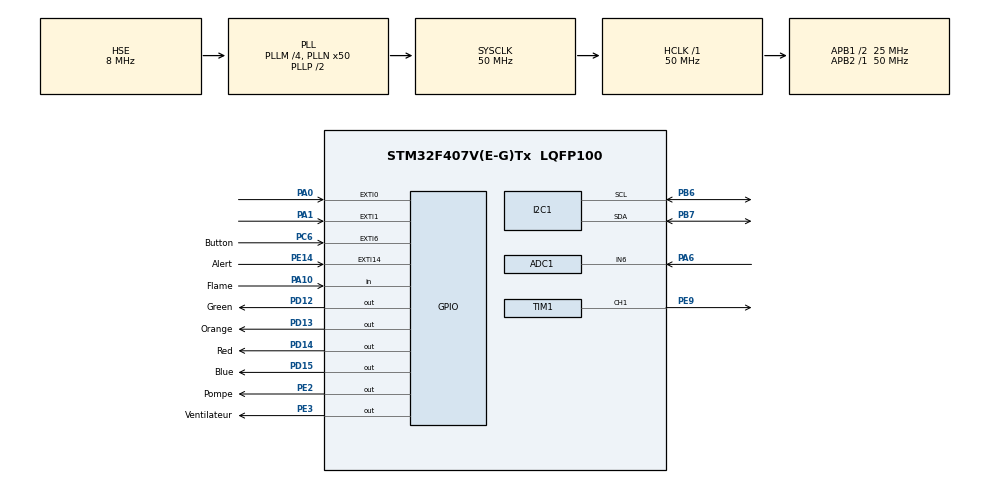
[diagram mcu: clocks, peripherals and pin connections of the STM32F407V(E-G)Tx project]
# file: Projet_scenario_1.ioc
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ADC1.Channel-0\#ChannelRegularConversion=ADC_CHANNEL_6
ADC1.InjNumberOfConversion=0
ADC1.NbrOfConversionFlag=1
ADC1.Rank-0\#ChannelRegularConversion=1
ADC1.SamplingTime-0\#ChannelRegularConversion=ADC_SAMPLETIME_3CYCLES
ADC1.master=1
Dma.MEMTOMEM.0.Direction=DMA_MEMORY_TO_MEMORY
Dma.MEMTOMEM.0.FIFOMode=DMA_FIFOMODE_ENABLE
Dma.MEMTOMEM.0.FIFOThreshold=DMA_FIFO_THRESHOLD_FULL
Dma.MEMTOMEM.0.Instance=DMA2_Stream0
Dma.MEMTOMEM.0.MemBurst=DMA_MBURST_SINGLE
Dma.MEMTOMEM.0.MemDataAlignment=DMA_MDATAALIGN_BYTE
Dma.MEMTOMEM.0.MemInc=DMA_MINC_ENABLE
Dma.MEMTOMEM.0.Mode=DMA_NORMAL
Dma.MEMTOMEM.0.PeriphBurst=DMA_PBURST_SINGLE
Dma.MEMTOMEM.0.PeriphDataAlignment=DMA_PDATAALIGN_BYTE
Dma.MEMTOMEM.0.PeriphInc=DMA_PINC_ENABLE
Dma.MEMTOMEM.0.Priority=DMA_PRIORITY_LOW
Dma.Request0=MEMTOMEM
Mcu.Family=STM32F4
Mcu.Name=STM32F407V(E-G)Tx
Mcu.Package=LQFP100
NVIC.ADC_IRQn=true\:0\:0\:false\:false\:true\:true\:true\:true
NVIC.EXTI0_IRQn=true\:0\:0\:false\:false\:true\:true\:true\:true
NVIC.EXTI15_10_IRQn=true\:0\:0\:false\:false\:true\:true\:true\:true
NVIC.EXTI1_IRQn=true\:0\:0\:false\:false\:true\:true\:true\:true
NVIC.EXTI9_5_IRQn=true\:0\:0\:false\:false\:true\:true\:true\:true
NVIC.PriorityGroup=NVIC_PRIORITYGROUP_4
NVIC.TIM6_DAC_IRQn=true\:0\:0\:false\:false\:true\:true\:true\:true
NVIC.TIM7_IRQn=true\:0\:0\:false\:false\:true\:true\:true\:true
PA0-WKUP.GPIO_ModeDefaultEXTI=GPIO_MODE_IT_RISING_FALLING
PA0-WKUP.Signal=GPXTI0
PA1.GPIO_ModeDefaultEXTI=GPIO_MODE_IT_RISING_FALLING
PA1.GPIO_PuPd=GPIO_PULLUP
PA1.Signal=GPXTI1
PA10.GPIO_Label=Flame
PA10.Signal=GPIO_Input
PA6.Signal=ADCx_IN6
PB6.Mode=I2C
PB6.Signal=I2C1_SCL
PB7.Mode=I2C
PB7.Signal=I2C1_SDA
PC6.GPIO_Label=Button
PC6.GPIO_PuPd=GPIO_PULLDOWN
PC6.Signal=GPXTI6
PD12.GPIO_Label=Green
PD12.Signal=GPIO_Output
PD13.GPIO_Label=Orange
PD13.Signal=GPIO_Output
PD14.GPIO_Label=Red
PD14.Signal=GPIO_Output
PD15.GPIO_Label=Blue
PD15.Signal=GPIO_Output
PE14.GPIO_Label=Alert
PE14.GPIO_PuPd=GPIO_PULLDOWN
PE14.Signal=GPXTI14
PE2.GPIO_Label=Pompe
PE2.Signal=GPIO_Output
PE3.GPIO_Label=Ventilateur
PE3.Signal=GPIO_Output
PE9.Signal=S_TIM1_CH1
PH0-OSC_IN.Mode=HSE-External-Oscillator
PH0-OSC_IN.Signal=RCC_OSC_IN
PH1-OSC_OUT.Mode=HSE-External-Oscillator
PH1-OSC_OUT.Signal=RCC_OSC_OUT
ProjectManager.HeapSize=0x200
ProjectManager.StackSize=0x400
ProjectManager.TargetToolchain=STM32CubeIDE
RCC.48MHZClocksFreq_Value=25000000
RCC.AHBFreq_Value=50000000
RCC.APB1CLKDivider=RCC_HCLK_DIV2
RCC.APB1Freq_Value=25000000
RCC.APB1TimFreq_Value=50000000
RCC.APB2Freq_Value=50000000
RCC.APB2TimFreq_Value=50000000
RCC.CortexFreq_Value=50000000
RCC.HCLKFreq_Value=50000000
RCC.HSE_VALUE=8000000
RCC.HSI_VALUE=16000000
RCC.LSE_VALUE=32768
RCC.PLLM=4
RCC.PLLN=50
RCC.PLLSourceVirtual=RCC_PLLSOURCE_HSE
RCC.SYSCLKFreq_VALUE=50000000
RCC.SYSCLKSource=RCC_SYSCLKSOURCE_PLLCLK
RCC.VCOOutputFreq_Value=100000000
SH.ADCx_IN6.0=ADC1_IN6,IN6
SH.S_TIM1_CH1.0=TIM1_CH1,PWM Generation1 CH1
TIM1.Channel-PWM\ Generation1\ CH1=TIM_CHANNEL_1
TIM1.Period=1000
TIM1.Pulse-PWM\ Generation1\ CH1=500
TIM6.AutoReloadPreload=TIM_AUTORELOAD_PRELOAD_DISABLE
TIM6.Period=19999
TIM6.Prescaler=4999
TIM6.TIM_MasterOutputTrigger=TIM_TRGO_UPDATE
TIM7.Period=29999
TIM7.Prescaler=4999
VP_TIM1_VS_ClockSourceINT.Mode=Internal
VP_TIM6_VS_ClockSourceINT.Mode=Enable_Timer
VP_TIM7_VS_ClockSourceINT.Mode=Enable_Timer
board=custom

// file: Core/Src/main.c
/* USER CODE BEGIN Header */
/**
  ******************************************************************************
  * @file           : main.c
  * @brief          : Main program body
  ******************************************************************************
  * @attention
  *
  * Copyright (c) 2025 STMicroelectronics.
  * All rights reserved.
  *
  * This software is licensed under terms that can be found in the LICENSE file
  * in the root directory of this software component.
  * If no LICENSE file comes with this software, it is provided AS-IS.
  *
  ******************************************************************************
  */
/* USER CODE END Header */
#include "main.h"

/* USER CODE BEGIN Includes */
#include "liquidcrystal_i2c.h"
#include <stdio.h>
#include <string.h>

/* USER CODE END Includes */

/* USER CODE BEGIN PTD */
typedef enum {
  MODE_JOUR = 0,
  MODE_NUIT
} ModeLuminosite;

/* USER CODE END PTD */

ADC_HandleTypeDef hadc1;

I2C_HandleTypeDef hi2c1;

TIM_HandleTypeDef htim1;
TIM_HandleTypeDef htim6;
TIM_HandleTypeDef htim7;

DMA_HandleTypeDef hdma_memtomem_dma2_stream0;
/* USER CODE BEGIN PV */
int status=0;
int buzzer_on=0;
int flame_buzzer=0;
ModeLuminosite currentMode = MODE_JOUR;
char alertMemory[5][20] = {
    "Aucune",
    "Aucune",
    "Aucune",
    "Aucune",
    "Aucune"
};
char dmaSource[40];
char dmaDest[40];
char dmaBuffer[40];
uint8_t alertIndex = 0;
uint8_t flag=0;

/* USER CODE END PV */

void SystemClock_Config(void);
static void MX_GPIO_Init(void);
static void MX_DMA_Init(void);
static void MX_I2C1_Init(void);
static void MX_TIM1_Init(void);
static void MX_TIM6_Init(void);
static void MX_ADC1_Init(void);
static void MX_TIM7_Init(void);
/* USER CODE BEGIN PFP */
void AddAlert(const char* txt);
void PrepareLastTwoAlerts(void);
void LCD_Show(char *txt);

/* USER CODE END PFP */

/* USER CODE BEGIN 0 */

void AddAlert(const char* txt)
{
    strncpy(alertMemory[alertIndex], txt, 20);
    alertIndex = (alertIndex + 1) % 5;
}

void PrepareLastTwoAlerts(void)
{
    uint8_t last1 = (alertIndex + 4) % 5;
    uint8_t last2 = (alertIndex + 3) % 5;

    // Ensure string fits in buffer
    snprintf(dmaSource, sizeof(dmaSource),
             "1:%s\n2:%s",
             alertMemory[last1],
             alertMemory[last2]);
    dmaSource[sizeof(dmaSource) - 1] = '\0';  // Force null-terminate
}

void HAL_GPIO_EXTI_Callback(uint16_t GPIO_Pin)
{
    if (GPIO_Pin == Button_Pin)
    {
        status = !status;

        if (status)
        {
            HAL_GPIO_WritePin(GPIOD, Green_Pin, GPIO_PIN_SET);
            HAL_GPIO_WritePin(GPIOD, Blue_Pin, GPIO_PIN_RESET);
            HAL_GPIO_WritePin(GPIOD, Orange_Pin, GPIO_PIN_RESET);
            HAL_GPIO_WritePin(GPIOD, Red_Pin, GPIO_PIN_RESET);
            HD44780_Clear();
            HD44780_SetCursor(0,0);
            HD44780_PrintStr("SYSTEM");
            HD44780_SetCursor(0,1);
            HD44780_PrintStr("ON");
        }
        else
        {
            HAL_GPIO_WritePin(GPIOD, Green_Pin, GPIO_PIN_RESET);
            HAL_GPIO_WritePin(GPIOD, Blue_Pin, GPIO_PIN_RESET);
            HAL_GPIO_WritePin(GPIOD, Orange_Pin, GPIO_PIN_RESET);
            HD44780_Clear();
            HD44780_SetCursor(0,0);
            HD44780_PrintStr("SYSTEM");
            HD44780_SetCursor(0,1);
            HD44780_PrintStr("OFF");
        }
    }

    if ((GPIO_Pin == GPIO_PIN_0) && status)
    {
        GPIO_PinState ldrState = HAL_GPIO_ReadPin(GPIOA, GPIO_PIN_0);

        if (ldrState != GPIO_PIN_SET)
        {
            currentMode = MODE_JOUR;
            HAL_GPIO_WritePin(GPIOD, Blue_Pin, GPIO_PIN_RESET);

            HD44780_Clear();
            HD44780_SetCursor(0,0);
            HD44780_PrintStr("Mode jour active");
            HD44780_SetCursor(0,1);
            HD44780_PrintStr("Lumiere forte");
        }
        else
        {
            currentMode = MODE_NUIT;
            HAL_GPIO_WritePin(GPIOD, Blue_Pin, GPIO_PIN_SET);

            HD44780_Clear();
            HD44780_SetCursor(0,0);
            HD44780_PrintStr("Mode nuit active");
            HD44780_SetCursor(0,1);
            HD44780_PrintStr("Lumiere faible");
        }
    }

    if ((GPIO_Pin == GPIO_PIN_1) && status)
    {
        GPIO_PinState soilState = HAL_GPIO_ReadPin(GPIOA, GPIO_PIN_1);

        if (soilState == GPIO_PIN_SET)
        {
            HAL_GPIO_WritePin(GPIOD, Orange_Pin, GPIO_PIN_SET);
            HAL_TIM_PWM_Start(&htim1,TIM_CHANNEL_1);
            buzzer_on=1;

            HD44780_Clear();
            HD44780_SetCursor(0,0);
            HD44780_PrintStr("Sol sec -");
            HD44780_SetCursor(0,1);
            HD44780_PrintStr("Pompe active");
            HAL_GPIO_WritePin(Pompe_GPIO_Port, Pompe_Pin, GPIO_PIN_SET);
            AddAlert("Sec");

        }
        else
        {

        	HAL_TIM_PWM_Stop(&htim1,TIM_CHANNEL_1);
            HAL_GPIO_WritePin(GPIOD, Orange_Pin, GPIO_PIN_RESET);
            HD44780_Clear();
            HD44780_SetCursor(0,0);
            HD44780_PrintStr("Sol humide");
            HD44780_SetCursor(0,1);
            HD44780_PrintStr("Pas d'action");
            HAL_GPIO_WritePin(Pompe_GPIO_Port, Pompe_Pin, GPIO_PIN_RESET);
        }
    }
    if((GPIO_Pin == Alert_Pin)&& status)
    {

    	flag= 1;
    	PrepareLastTwoAlerts();

    			  HAL_DMA_Start(&hdma_memtomem_dma2_stream0,(uint32_t)dmaSource,(uint32_t)dmaDest,strlen(dmaSource) + 1);

    }
}

void HAL_TIM_PeriodElapsedCallback(TIM_HandleTypeDef *htim)
{
	if (htim->Instance == TIM6)
	{
		HAL_ADC_Start_IT(&hadc1);
	}
	else if (htim->Instance == TIM7)
	{
		HAL_GPIO_WritePin(GPIOD, Blue_Pin, GPIO_PIN_RESET);
		HAL_GPIO_WritePin(GPIOD, Orange_Pin, GPIO_PIN_RESET);
		HAL_GPIO_WritePin(GPIOD, Red_Pin, GPIO_PIN_RESET);
		HAL_GPIO_WritePin(GPIOE, Pompe_Pin, GPIO_PIN_RESET);
		HAL_GPIO_WritePin(GPIOE, Ventilateur_Pin, GPIO_PIN_RESET);

		HAL_TIM_PWM_Stop(&htim1,TIM_CHANNEL_1);
	    HAL_TIM_Base_Stop_IT(&htim7);
	}
}
void HAL_ADC_ConvCpltCallback(ADC_HandleTypeDef* hadc)
{
    if (hadc->Instance == ADC1)
    {
        uint16_t raw = HAL_ADC_GetValue(hadc);
        float vref = 3.3f;
        float voltage = (raw * vref) / 4096.0f;
        float temp_c = voltage * 10.0f;

        GPIO_PinState flame = HAL_GPIO_ReadPin(GPIOA, Flame_Pin);

        if (flame == GPIO_PIN_RESET)
        {
        	//status=0;
        	flame_buzzer=1;
        	HD44780_Clear();
        	HD44780_SetCursor(0,0);
        	HD44780_PrintStr("Flamme detectee");
        	HD44780_SetCursor(0,1);
        	HD44780_PrintStr("Arret systeme");
        	HAL_GPIO_WritePin(GPIOD, Red_Pin, GPIO_PIN_SET);
        	HAL_TIM_PWM_Start(&htim1,TIM_CHANNEL_1);
        	AddAlert("Flamme");

        }

        else if (temp_c > 35.0f)
        {
        	HAL_GPIO_WritePin(GPIOD, Blue_Pin, GPIO_PIN_SET);
        	HAL_GPIO_WritePin(GPIOE, Ventilateur_Pin, GPIO_PIN_SET);
        	AddAlert("Haute Temp");

        }
        HAL_TIM_Base_Start_IT(&htim7);
        HAL_ADC_Stop_IT(hadc);
    }
}

/* USER CODE END 0 */

int main(void)
{

  /* MCU Configuration--------------------------------------------------------*/

  /* Reset of all peripherals, Initializes the Flash interface and the Systick. */
  HAL_Init();

  /* Configure the system clock */
  SystemClock_Config();

  /* Initialize all configured peripherals */
  MX_GPIO_Init();
  MX_DMA_Init();
  MX_I2C1_Init();
  MX_TIM1_Init();
  MX_TIM6_Init();
  MX_ADC1_Init();
  MX_TIM7_Init();
  /* USER CODE BEGIN 2 */
  //INIT
  HAL_TIM_Base_Start_IT(&htim6);

  //LCD DEFAULT
  HD44780_Init(2);
  HD44780_Clear();
  HD44780_SetCursor(0,0);

  HD44780_PrintStr("Appuyer sur");
  HD44780_SetCursor(0,1);
  HD44780_PrintStr("le button");

  /* USER CODE END 2 */

  /* Infinite loop */
  while (1)
  {

    /* USER CODE BEGIN 3 */
	  if(flag==1)
	  {
		  HAL_Delay(20);

		  HAL_DMA_PollForTransfer(&hdma_memtomem_dma2_stream0, HAL_DMA_FULL_TRANSFER, 100);
		  HD44780_Clear();

		  HD44780_SetCursor(0,0);
		  HD44780_PrintStr(dmaDest);
		  flag=0;
		  HAL_Delay(5000);
		  HD44780_Clear();

	  }

	  if(HAL_GPIO_ReadPin(GPIOC, Alert_Pin)==GPIO_PIN_RESET)

	  	  {
      	HAL_GPIO_WritePin(GPIOD, Blue_Pin, GPIO_PIN_SET);

	  	  }
	  else
	      HAL_GPIO_WritePin(GPIOD, Blue_Pin, GPIO_PIN_RESET);

	  if(buzzer_on==1)
	  {
		  HAL_Delay(500);
		  HAL_TIM_PWM_Stop(&htim1,TIM_CHANNEL_1);
		  buzzer_on=0;
	  }
	  if(flame_buzzer==1)
	  {
		  HAL_Delay(1000);
		  HAL_TIM_PWM_Stop(&htim1,TIM_CHANNEL_1);
		  flame_buzzer=0;
		  HD44780_Clear();
		  HD44780_SetCursor(0,0);
		  HD44780_PrintStr("Appuyer sur");
		  HD44780_SetCursor(0,1);
		  HD44780_PrintStr("le button");

	  }

	  //    // update twice per second

  }

  /* USER CODE END 3 */
}

void SystemClock_Config(void)
{
  RCC_OscInitTypeDef RCC_OscInitStruct = {0};
  RCC_ClkInitTypeDef RCC_ClkInitStruct = {0};

  /** Configure the main internal regulator output voltage
  */
  __HAL_RCC_PWR_CLK_ENABLE();
  __HAL_PWR_VOLTAGESCALING_CONFIG(PWR_REGULATOR_VOLTAGE_SCALE1);

  /** Initializes the RCC Oscillators according to the specified parameters
  * in the RCC_OscInitTypeDef structure.
  */
  RCC_OscInitStruct.OscillatorType = RCC_OSCILLATORTYPE_HSE;
  RCC_OscInitStruct.HSEState = RCC_HSE_ON;
  RCC_OscInitStruct.PLL.PLLState = RCC_PLL_ON;
  RCC_OscInitStruct.PLL.PLLSource = RCC_PLLSOURCE_HSE;
  RCC_OscInitStruct.PLL.PLLM = 4;
  RCC_OscInitStruct.PLL.PLLN = 50;
  RCC_OscInitStruct.PLL.PLLP = RCC_PLLP_DIV2;
  RCC_OscInitStruct.PLL.PLLQ = 4;
  if (HAL_RCC_OscConfig(&RCC_OscInitStruct) != HAL_OK)
  {
    Error_Handler();
  }

  /** Initializes the CPU, AHB and APB buses clocks
  */
  RCC_ClkInitStruct.ClockType = RCC_CLOCKTYPE_HCLK|RCC_CLOCKTYPE_SYSCLK
                              |RCC_CLOCKTYPE_PCLK1|RCC_CLOCKTYPE_PCLK2;
  RCC_ClkInitStruct.SYSCLKSource = RCC_SYSCLKSOURCE_PLLCLK;
  RCC_ClkInitStruct.AHBCLKDivider = RCC_SYSCLK_DIV1;
  RCC_ClkInitStruct.APB1CLKDivider = RCC_HCLK_DIV2;
  RCC_ClkInitStruct.APB2CLKDivider = RCC_HCLK_DIV1;

  if (HAL_RCC_ClockConfig(&RCC_ClkInitStruct, FLASH_LATENCY_1) != HAL_OK)
  {
    Error_Handler();
  }
}

static void MX_ADC1_Init(void)
{

  ADC_ChannelConfTypeDef sConfig = {0};

  /** Configure the global features of the ADC (Clock, Resolution, Data Alignment and number of conversion)
  */
  hadc1.Instance = ADC1;
  hadc1.Init.ClockPrescaler = ADC_CLOCK_SYNC_PCLK_DIV2;
  hadc1.Init.Resolution = ADC_RESOLUTION_12B;
  hadc1.Init.ScanConvMode = DISABLE;
  hadc1.Init.ContinuousConvMode = DISABLE;
  hadc1.Init.DiscontinuousConvMode = DISABLE;
  hadc1.Init.ExternalTrigConvEdge = ADC_EXTERNALTRIGCONVEDGE_NONE;
  hadc1.Init.ExternalTrigConv = ADC_SOFTWARE_START;
  hadc1.Init.DataAlign = ADC_DATAALIGN_RIGHT;
  hadc1.Init.NbrOfConversion = 1;
  hadc1.Init.DMAContinuousRequests = DISABLE;
  hadc1.Init.EOCSelection = ADC_EOC_SINGLE_CONV;
  if (HAL_ADC_Init(&hadc1) != HAL_OK)
  {
    Error_Handler();
  }

  /** Configure for the selected ADC regular channel its corresponding rank in the sequencer and its sample time.
  */
  sConfig.Channel = ADC_CHANNEL_6;
  sConfig.Rank = 1;
  sConfig.SamplingTime = ADC_SAMPLETIME_3CYCLES;
  if (HAL_ADC_ConfigChannel(&hadc1, &sConfig) != HAL_OK)
  {
    Error_Handler();
  }

}

static void MX_I2C1_Init(void)
{

  hi2c1.Instance = I2C1;
  hi2c1.Init.ClockSpeed = 100000;
  hi2c1.Init.DutyCycle = I2C_DUTYCYCLE_2;
  hi2c1.Init.OwnAddress1 = 0;
  hi2c1.Init.AddressingMode = I2C_ADDRESSINGMODE_7BIT;
  hi2c1.Init.DualAddressMode = I2C_DUALADDRESS_DISABLE;
  hi2c1.Init.OwnAddress2 = 0;
  hi2c1.Init.GeneralCallMode = I2C_GENERALCALL_DISABLE;
  hi2c1.Init.NoStretchMode = I2C_NOSTRETCH_DISABLE;
  if (HAL_I2C_Init(&hi2c1) != HAL_OK)
  {
    Error_Handler();
  }

}

static void MX_TIM1_Init(void)
{

  TIM_ClockConfigTypeDef sClockSourceConfig = {0};
  TIM_MasterConfigTypeDef sMasterConfig = {0};
  TIM_OC_InitTypeDef sConfigOC = {0};
  TIM_BreakDeadTimeConfigTypeDef sBreakDeadTimeConfig = {0};

  htim1.Instance = TIM1;
  htim1.Init.Prescaler = 0;
  htim1.Init.CounterMode = TIM_COUNTERMODE_UP;
  htim1.Init.Period = 1000;
  htim1.Init.ClockDivision = TIM_CLOCKDIVISION_DIV1;
  htim1.Init.RepetitionCounter = 0;
  htim1.Init.AutoReloadPreload = TIM_AUTORELOAD_PRELOAD_DISABLE;
  if (HAL_TIM_Base_Init(&htim1) != HAL_OK)
  {
    Error_Handler();
  }
  sClockSourceConfig.ClockSource = TIM_CLOCKSOURCE_INTERNAL;
  if (HAL_TIM_ConfigClockSource(&htim1, &sClockSourceConfig) != HAL_OK)
  {
    Error_Handler();
  }
  if (HAL_TIM_PWM_Init(&htim1) != HAL_OK)
  {
    Error_Handler();
  }
  sMasterConfig.MasterOutputTrigger = TIM_TRGO_RESET;
  sMasterConfig.MasterSlaveMode = TIM_MASTERSLAVEMODE_DISABLE;
  if (HAL_TIMEx_MasterConfigSynchronization(&htim1, &sMasterConfig) != HAL_OK)
  {
    Error_Handler();
  }
  sConfigOC.OCMode = TIM_OCMODE_PWM1;
  sConfigOC.Pulse = 500;
  sConfigOC.OCPolarity = TIM_OCPOLARITY_HIGH;
  sConfigOC.OCNPolarity = TIM_OCNPOLARITY_HIGH;
  sConfigOC.OCFastMode = TIM_OCFAST_DISABLE;
  sConfigOC.OCIdleState = TIM_OCIDLESTATE_RESET;
  sConfigOC.OCNIdleState = TIM_OCNIDLESTATE_RESET;
  if (HAL_TIM_PWM_ConfigChannel(&htim1, &sConfigOC, TIM_CHANNEL_1) != HAL_OK)
  {
    Error_Handler();
  }
  sBreakDeadTimeConfig.OffStateRunMode = TIM_OSSR_DISABLE;
  sBreakDeadTimeConfig.OffStateIDLEMode = TIM_OSSI_DISABLE;
  sBreakDeadTimeConfig.LockLevel = TIM_LOCKLEVEL_OFF;
  sBreakDeadTimeConfig.DeadTime = 0;
  sBreakDeadTimeConfig.BreakState = TIM_BREAK_DISABLE;
  sBreakDeadTimeConfig.BreakPolarity = TIM_BREAKPOLARITY_HIGH;
  sBreakDeadTimeConfig.AutomaticOutput = TIM_AUTOMATICOUTPUT_DISABLE;
  if (HAL_TIMEx_ConfigBreakDeadTime(&htim1, &sBreakDeadTimeConfig) != HAL_OK)
  {
    Error_Handler();
  }
  HAL_TIM_MspPostInit(&htim1);

}

static void MX_TIM6_Init(void)
{

  TIM_MasterConfigTypeDef sMasterConfig = {0};

  htim6.Instance = TIM6;
  htim6.Init.Prescaler = 4999;
  htim6.Init.CounterMode = TIM_COUNTERMODE_UP;
  htim6.Init.Period = 19999;
  htim6.Init.AutoReloadPreload = TIM_AUTORELOAD_PRELOAD_DISABLE;
  if (HAL_TIM_Base_Init(&htim6) != HAL_OK)
  {
    Error_Handler();
  }
  sMasterConfig.MasterOutputTrigger = TIM_TRGO_UPDATE;
  sMasterConfig.MasterSlaveMode = TIM_MASTERSLAVEMODE_DISABLE;
  if (HAL_TIMEx_MasterConfigSynchronization(&htim6, &sMasterConfig) != HAL_OK)
  {
    Error_Handler();
  }

}

static void MX_TIM7_Init(void)
{

  TIM_MasterConfigTypeDef sMasterConfig = {0};

  htim7.Instance = TIM7;
  htim7.Init.Prescaler = 4999;
  htim7.Init.CounterMode = TIM_COUNTERMODE_UP;
  htim7.Init.Period = 29999;
  htim7.Init.AutoReloadPreload = TIM_AUTORELOAD_PRELOAD_DISABLE;
  if (HAL_TIM_Base_Init(&htim7) != HAL_OK)
  {
    Error_Handler();
  }
  sMasterConfig.MasterOutputTrigger = TIM_TRGO_RESET;
  sMasterConfig.MasterSlaveMode = TIM_MASTERSLAVEMODE_DISABLE;
  if (HAL_TIMEx_MasterConfigSynchronization(&htim7, &sMasterConfig) != HAL_OK)
  {
    Error_Handler();
  }

}

static void MX_DMA_Init(void)
{

  /* DMA controller clock enable */
  __HAL_RCC_DMA2_CLK_ENABLE();

  /* Configure DMA request hdma_memtomem_dma2_stream0 on DMA2_Stream0 */
  hdma_memtomem_dma2_stream0.Instance = DMA2_Stream0;
  hdma_memtomem_dma2_stream0.Init.Channel = DMA_CHANNEL_0;
  hdma_memtomem_dma2_stream0.Init.Direction = DMA_MEMORY_TO_MEMORY;
  hdma_memtomem_dma2_stream0.Init.PeriphInc = DMA_PINC_ENABLE;
  hdma_memtomem_dma2_stream0.Init.MemInc = DMA_MINC_ENABLE;
  hdma_memtomem_dma2_stream0.Init.PeriphDataAlignment = DMA_PDATAALIGN_BYTE;
  hdma_memtomem_dma2_stream0.Init.MemDataAlignment = DMA_MDATAALIGN_BYTE;
  hdma_memtomem_dma2_stream0.Init.Mode = DMA_NORMAL;
  hdma_memtomem_dma2_stream0.Init.Priority = DMA_PRIORITY_LOW;
  hdma_memtomem_dma2_stream0.Init.FIFOMode = DMA_FIFOMODE_ENABLE;
  hdma_memtomem_dma2_stream0.Init.FIFOThreshold = DMA_FIFO_THRESHOLD_FULL;
  hdma_memtomem_dma2_stream0.Init.MemBurst = DMA_MBURST_SINGLE;
  hdma_memtomem_dma2_stream0.Init.PeriphBurst = DMA_PBURST_SINGLE;
  if (HAL_DMA_Init(&hdma_memtomem_dma2_stream0) != HAL_OK)
  {
    Error_Handler( );
  }

}

static void MX_GPIO_Init(void)
{
  GPIO_InitTypeDef GPIO_InitStruct = {0};

  /* GPIO Ports Clock Enable */
  __HAL_RCC_GPIOE_CLK_ENABLE();
  __HAL_RCC_GPIOH_CLK_ENABLE();
  __HAL_RCC_GPIOA_CLK_ENABLE();
  __HAL_RCC_GPIOD_CLK_ENABLE();
  __HAL_RCC_GPIOC_CLK_ENABLE();
  __HAL_RCC_GPIOB_CLK_ENABLE();

  /*Configure GPIO pin Output Level */
  HAL_GPIO_WritePin(GPIOE, Pompe_Pin|Ventilateur_Pin, GPIO_PIN_RESET);

  /*Configure GPIO pin Output Level */
  HAL_GPIO_WritePin(GPIOD, Green_Pin|Orange_Pin|Red_Pin|Blue_Pin, GPIO_PIN_RESET);

  /*Configure GPIO pins : Pompe_Pin Ventilateur_Pin */
  GPIO_InitStruct.Pin = Pompe_Pin|Ventilateur_Pin;
  GPIO_InitStruct.Mode = GPIO_MODE_OUTPUT_PP;
  GPIO_InitStruct.Pull = GPIO_NOPULL;
  GPIO_InitStruct.Speed = GPIO_SPEED_FREQ_LOW;
  HAL_GPIO_Init(GPIOE, &GPIO_InitStruct);

  /*Configure GPIO pin : PA0 */
  GPIO_InitStruct.Pin = GPIO_PIN_0;
  GPIO_InitStruct.Mode = GPIO_MODE_IT_RISING_FALLING;
  GPIO_InitStruct.Pull = GPIO_NOPULL;
  HAL_GPIO_Init(GPIOA, &GPIO_InitStruct);

  /*Configure GPIO pin : PA1 */
  GPIO_InitStruct.Pin = GPIO_PIN_1;
  GPIO_InitStruct.Mode = GPIO_MODE_IT_RISING_FALLING;
  GPIO_InitStruct.Pull = GPIO_PULLUP;
  HAL_GPIO_Init(GPIOA, &GPIO_InitStruct);

  /*Configure GPIO pin : Alert_Pin */
  GPIO_InitStruct.Pin = Alert_Pin;
  GPIO_InitStruct.Mode = GPIO_MODE_IT_RISING;
  GPIO_InitStruct.Pull = GPIO_PULLDOWN;
  HAL_GPIO_Init(Alert_GPIO_Port, &GPIO_InitStruct);

  /*Configure GPIO pins : Green_Pin Orange_Pin Red_Pin Blue_Pin */
  GPIO_InitStruct.Pin = Green_Pin|Orange_Pin|Red_Pin|Blue_Pin;
  GPIO_InitStruct.Mode = GPIO_MODE_OUTPUT_PP;
  GPIO_InitStruct.Pull = GPIO_NOPULL;
  GPIO_InitStruct.Speed = GPIO_SPEED_FREQ_LOW;
  HAL_GPIO_Init(GPIOD, &GPIO_InitStruct);

  /*Configure GPIO pin : Button_Pin */
  GPIO_InitStruct.Pin = Button_Pin;
  GPIO_InitStruct.Mode = GPIO_MODE_IT_RISING;
  GPIO_InitStruct.Pull = GPIO_PULLDOWN;
  HAL_GPIO_Init(Button_GPIO_Port, &GPIO_InitStruct);

  /*Configure GPIO pin : Flame_Pin */
  GPIO_InitStruct.Pin = Flame_Pin;
  GPIO_InitStruct.Mode = GPIO_MODE_INPUT;
  GPIO_InitStruct.Pull = GPIO_NOPULL;
  HAL_GPIO_Init(Flame_GPIO_Port, &GPIO_InitStruct);

  /* EXTI interrupt init*/
  HAL_NVIC_SetPriority(EXTI0_IRQn, 0, 0);
  HAL_NVIC_EnableIRQ(EXTI0_IRQn);

  HAL_NVIC_SetPriority(EXTI1_IRQn, 0, 0);
  HAL_NVIC_EnableIRQ(EXTI1_IRQn);

  HAL_NVIC_SetPriority(EXTI9_5_IRQn, 0, 0);
  HAL_NVIC_EnableIRQ(EXTI9_5_IRQn);

  HAL_NVIC_SetPriority(EXTI15_10_IRQn, 0, 0);
  HAL_NVIC_EnableIRQ(EXTI15_10_IRQn);

}

void Error_Handler(void)
{
  __disable_irq();
  while (1)
  {
  }
}
